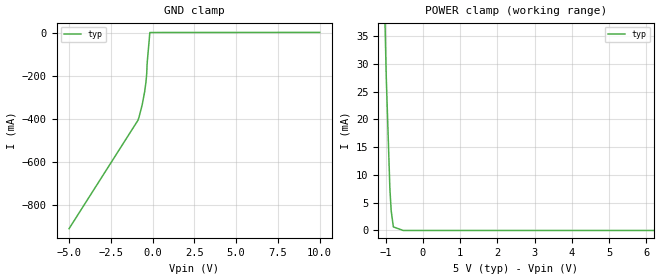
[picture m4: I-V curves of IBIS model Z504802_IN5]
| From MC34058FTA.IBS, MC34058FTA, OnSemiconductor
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| (C) COPYRIGHT 1993-2000
| MENTOR GRAPHICS CORPORATION
| ICX STANDARD LIBRARY, ICX PROJECT MODELING,
| ICX CUSTOM MODELING, ICX VENDOR MODEL
| ALL RIGHTS RESERVED.
| THE FOLLOWING ARE TRADEMARKS OR SERVICE MARKS OF
| MENTOR GRAPHICS CORPORATION:ICX (R), ICX STANDARD
| LIBRARY(R), ICX PROJECT MODELING(R), ICX CUSTOM
| MODELING(R), qualityIBIS(TM), MODELVIEWER(TM),
| AND MODELEDITOR(TM)
| ALL COPIES OF SOFTWARE, INCLUDING BUT NOT LIMITED TO
| ANY MODIFICATIONS, ENHANCEMENTS OR DERIVATIVE WORKS,
| MUST CONTAIN ALL MENTOR GRAPHICS CORPORATION'S
| NOTICES AND LEGENDS, INCLUDING THOSE EMBEDDED IN
| SOFTWARE AND THOSE AFFIXED TO SOFTWARE MEDIUM
| AND CONTAINER, AS RECEIVED FROM MENTOR GRAPHICS
| CORPORATION.
| Model Application Version 1.89 2/18/99.
[Model] Z504802_IN5
Model_type Input
Vinl = 800.0mV
Vinh = 2.000V
C_comp 4.000pF NA NA
| variable typ   min   max
[Voltage Range] 5.000V NA NA
[GND Clamp Reference] 0.000V NA NA
[POWER Clamp Reference] 5.000V NA NA
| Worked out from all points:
|   GND clamp passes 1 mA (typ) near -0.16 V on its own axis
|   POWER clamp passes 1 mA (typ) near -0.80 V on its own axis
[GND Clamp]
-5V       -911.7mA   NA         NA
-883.6mV  -409mA     NA         NA
-820.2mV  -395.9mA   NA         NA
-625.3mV  -337.2mA   NA         NA
-474.5mV  -275.3mA   NA         NA
-388.2mV  -224.4mA   NA         NA
-349mV    -187.9mA   NA         NA
-327.8mV  -146mA     NA         NA
-163.9mV  -150.1uA   NA         NA
10V       527uA      NA         NA
[POWER Clamp]
-5V       1.42A      NA         NA
-1.133V   72.41mA    NA         NA
-982mV    27.67mA    NA         NA
-884mV    7.491mA    NA         NA
-849mV    3.533mA    NA         NA
-791mV    644.3uA    NA         NA
-527.3mV  0A         NA         NA
10V       0A         NA         NA
